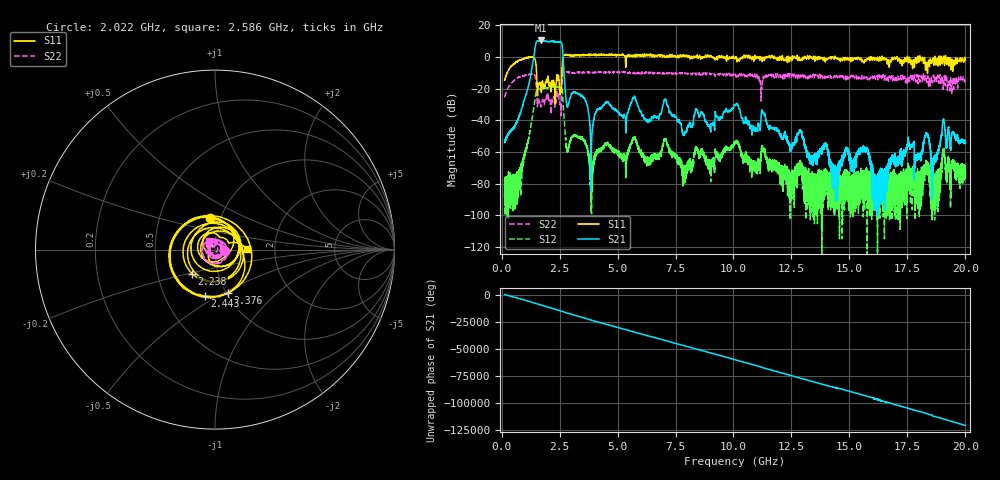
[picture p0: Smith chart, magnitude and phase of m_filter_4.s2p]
!Created with skrf (http://scikit-rf.org).
# GHz S RI R 50.0
!freq ReS11 ImS11 ReS21 ImS21 ReS12 ImS12 ReS22 ImS22
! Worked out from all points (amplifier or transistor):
!   20013 points, 130 MHz to 20 GHz, reference 50 ohm
!   highest |S21| = 10.5 dB at 1.712 GHz (marker M1)
!   |S21| within 3 dB of that: 1.465 GHz to 2.612 GHz (1.147 GHz wide, 56.2 % of centre)
!   unconditionally stable (mu >= 1): start of sweep to 1.094 GHz; 1.409 GHz to 2.637 GHz; 14.39 GHz to 15.93 GHz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
!   at 3.465 GHz: K = -575.30, MSG = 13.4 dB, |S12| = -51.0 dB
!   at 10.14 GHz: K = 2371.36, MAG = -24.9 dB, |S12| = -53.2 dB
!   at 20 GHz: K = 548902.85, MAG = -49.8 dB, |S12| = -75.4 dB
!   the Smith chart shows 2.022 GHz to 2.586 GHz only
!   S11 on the Smith chart (normalised r, x): 2.022 GHz: 0.90, +0.32; 2.238 GHz: 0.75, -0.21; 2.376 GHz: 1.01, -0.53; 2.443 GHz: 0.78, -0.44; 2.586 GHz: 1.43, +0.01
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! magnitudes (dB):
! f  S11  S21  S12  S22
! 130 MHz  -14.7  -53.7  -89.1  -25.5
! 727 MHz  -2.4  -38.6  -78.5  -12.9
! 1.712 GHz  -22.2  10.5  -20.0  -30.1
! 2.022 GHz  -15.1  9.7  -19.3  -25.3
! 2.238 GHz  -14.7  9.8  -18.7  -26.1
! 2.376 GHz  -11.9  9.4  -18.8  -22.7
! 2.443 GHz  -11.5  9.3  -18.8  -22.4
! 2.586 GHz  -15.0  9.0  -19.0  -25.0
! 2.836 GHz  1.3  -31.6  -59.3  -9.6
! 3.442 GHz  1.3  -24.0  -51.2  -9.4
! 3.879 GHz  1.6  -53.9  -98.9  -9.8
! 4.522 GHz  1.2  -29.2  -55.6  -9.6
! 6.754 GHz  1.3  -38.1  -62.7  -9.9
! 7.084 GHz  0.2  -27.3  -52.0  -10.5
! 7.884 GHz  0.6  -48.7  -73.9  -10.2
! 10.06 GHz  -0.4  -30.2  -54.4  -11.0
! 13.38 GHz  -0.3  -63.6  -73.7  -12.4
! 16.69 GHz  -3.8  -68.1  -81.8  -15.0
! 18.33 GHz  -3.6  -48.3  -68.0  -15.9
! 18.62 GHz  -3.8  -65.7  -84.7  -11.4
! 19.04 GHz  -0.4  -40.0  -58.5  -20.4
! 20 GHz  -2.1  -54.2  -75.4  -13.0
